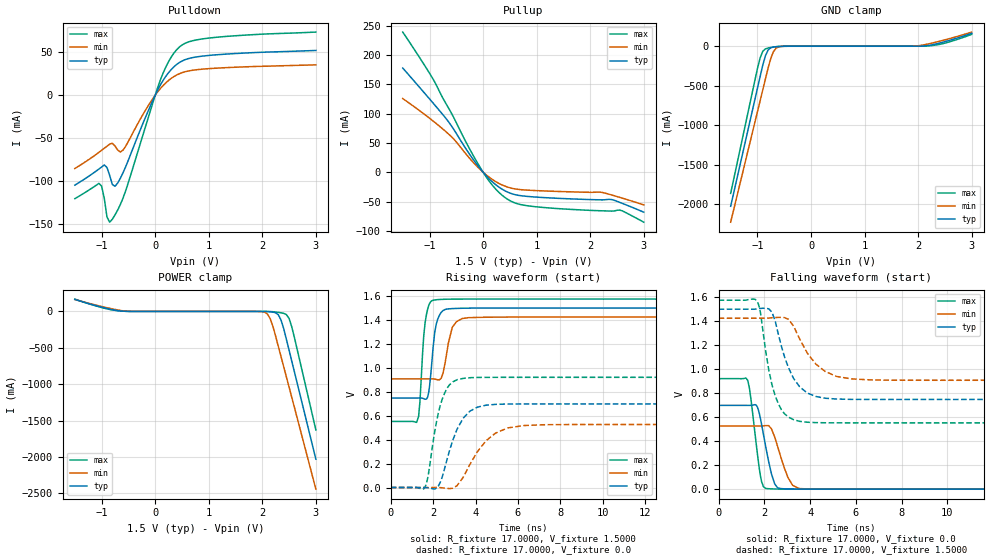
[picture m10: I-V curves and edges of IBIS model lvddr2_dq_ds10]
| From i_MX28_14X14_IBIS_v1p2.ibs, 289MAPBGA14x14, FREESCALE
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|   Model lvddr2_dq_ds10
| This model was characterised for following simulation conditions:
| Spice Models:
|  - Typ Condition
|   ..../r63536/IBIS/DDR_IBIS/io_dig_k_sstl18_dq_bs_ir_lvddr2_ds10/typ.model
|  - Min Condition
|   ..../r63536/IBIS/DDR_IBIS/io_dig_k_sstl18_dq_bs_ir_lvddr2_ds10/wcs.model
|  - Max Condition
|   ..../r63536/IBIS/DDR_IBIS/io_dig_k_sstl18_dq_bs_ir_lvddr2_ds10/bcs.model
[Model]  lvddr2_dq_ds10
Model_type I/O
Polarity   Non-Inverting
Enable   Active-Low
Vinl =   0.6250V
Vinh =   0.8750V
Vmeas =  0.7500V
Cref =   0.0F
Rref =   17.0000
Vref =   0.7500V
C_comp   3.7378pF   3.4501pF   4.0585pF
[Temperature Range]   25.0000   0.1050k   -40.0000
[Voltage Range]   1.5000V   1.4250V   1.5750V
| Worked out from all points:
|   slope of the pulldown table from 0 to 0.225 V, typ, clamps not added: 9.3 ohm
|   slope of the pullup table from 0 to 0.225 V, typ, clamps not added: 11 ohm
|   GND clamp passes 1 mA (typ) near -0.54 V on its own axis
|   POWER clamp passes 1 mA (typ) near -0.52 V on its own axis
|   rising waveform, R_fixture 17.0000, V_fixture 1.5000: 20-80 % time 268ps typ, 348ps min, 228ps max; typ from 0.748 V to 1.5 V
|   rising waveform, R_fixture 17.0000, V_fixture 0.0: 20-80 % time 840ps typ, 1.23ns min, 585ps max; typ from 0 V to 0.698 V
|   falling waveform, R_fixture 17.0000, V_fixture 0.0: 20-80 % time 436ps typ, 542ps min, 348ps max; typ from 0.698 V to 0 V
|   falling waveform, R_fixture 17.0000, V_fixture 1.5000: 20-80 % time 834ps typ, 1.09ns min, 616ps max; typ from 1.5 V to 0.748 V
[Pulldown]
|Voltage   I(typ)   I(min)   I(max)
-1.5V     -104.4mA   -85.04mA   -120.1mA
-1.05V    -85.67mA   -66.25mA   -102.3mA
-1V       -83.33mA   -63.88mA   -105.5mA
-900mV    -83.85mA   -59.13mA   -141.3mA
-800mV    -103.6mA   -55.72mA   -144mA
-750mV    -105.7mA   -58.97mA   -138.9mA
-600mV    -90mA      -63.76mA   -119.4mA
100mV     12.23mA    7.974mA    18.25mA
300mV     29.88mA    19.59mA    44.37mA
500mV     39.71mA    26.18mA    58.3mA
1.15V     47.02mA    31.47mA    67.36mA
3V        52mA       35.3mA     73.34mA
[Pullup]
|Voltage   I(typ)   I(min)   I(max)
-1.5V     177.5mA    125.5mA    238.8mA
-950mV    119.6mA    88.39mA    161.2mA
-650mV    86.47mA    65.43mA    110.1mA
-250mV    30.24mA    23.44mA    39.38mA
0V        -687fA     -5.36pA    -798fA
200mV     -18.67mA   -14.07mA   -25.18mA
400mV     -31.37mA   -23.54mA   -42.6mA
600mV     -38.38mA   -28.63mA   -52.62mA
950mV     -42.22mA   -31.21mA   -58.62mA
2.2V      -47.18mA   -34.21mA   -65.78mA
2.55V     -51.46mA   -42.92mA   -64.67mA
3V        -68.21mA   -55.84mA   -85.26mA
[GND_clamp]
|Voltage   I(typ)   I(min)   I(max)
-1.5V     -2.029A    -2.231A    -1.865A
-1V       -533.1mA   -830.8mA   -282.7mA
-950mV    -383.9mA   -691.3mA   -147.7mA
-900mV    -238.3mA   -552mA     -63.25mA
-850mV    -119.3mA   -412.9mA   -33.28mA
-800mV    -46.76mA   -274.5mA   -22.37mA
-700mV    -9.614mA   -66.67mA   -10.57mA
-650mV    -5.447mA   -22.63mA   -6.268mA
-500mV    -421.1uA   -763.3uA   -350.2uA
2.1V      3.619mA    16.69mA    667.5uA
2.45V     49.14mA    72.13mA    30.65mA
3V        164.5mA    179.4mA    150.3mA
[POWER_clamp]
|Voltage   I(typ)   I(min)   I(max)
-1.5V     164.5mA    163.7mA    169.6mA
-950mV    49.14mA    59.11mA    43.89mA
-600mV    3.619mA    8.051mA    3.221mA
1.9V      -28.44uA   -431.3uA   -3.904uA
2.1V      -2.845mA   -39.79mA   -682uA
2.2V      -9.614mA   -210.1mA   -4.543mA
2.3V      -46.76mA   -482.4mA   -13.09mA
2.35V     -119.3mA   -621.7mA   -18.86mA
2.4V      -238.4mA   -761.1mA   -26.87mA
2.5V      -533.1mA   -1.04A     -97.44mA
2.6V      -831.8mA   -1.32A     -360.4mA
3V        -2.029A    -2.441A    -1.628A
[Ramp]
| variable   typ   min   max
dV/dt_r  0.4191/0.8399n   0.3159/1.2012n   0.5526/0.5842n
dV/dt_f  0.4514/0.8338n   0.3104/1.0626n   0.6136/0.6025n
R_load = 17.0000
[Rising Waveform]
R_fixture= 17.0000
V_fixture= 1.5000
V_fixture_min= 1.4250
V_fixture_max= 1.5750
|time   V(typ)   V(min)   V(max)
0s        747.7mV    907.6mV    552.4mV
1.221ns   747.8mV    907.7mV    544.2mV
1.378ns   748.1mV    907.7mV    716.3mV
1.626ns   737.5mV    907.7mV    1.382V
1.795ns   797.6mV    907.7mV    1.522V
2ns       1.172V     907.6mV    1.565V
2.374ns   1.462V     910.6mV    1.572V
2.902ns   1.495V     1.338V     1.574V
3.666ns   1.499V     1.419V     1.575V
25ns      1.5V       1.425V     1.575V
[Rising Waveform]
R_fixture= 17.0000
V_fixture= 0.0
V_fixture_min= 0.0
V_fixture_max= 0.0
|time   V(typ)   V(min)   V(max)
0s        2.278nV    24.41nV    2.921nV
1.575ns   305uV      -929.2nV   -8.582mV
1.748ns   -2.583mV   -1.348uV   81.58mV
2.081ns   -12.4mV    217.2uV    472.6mV
2.425ns   84.75mV    -2.581mV   736.2mV
2.769ns   305.8mV    -9.069mV   857.7mV
3.416ns   578.9mV    84.7mV     911.9mV
4.494ns   688mV      390.7mV    920.7mV
6.251ns   698.4mV    517.7mV    921mV
25ns      698.5mV    526.5mV    921mV
[Falling Waveform]
R_fixture= 17.0000
V_fixture= 0.0
V_fixture_min= 0.0
V_fixture_max= 0.0
|time   V(typ)   V(min)   V(max)
0s        698.5mV    526.5mV    921mV
1.276ns   698.3mV    526.5mV    906mV
1.696ns   683.9mV    526.4mV    295mV
1.88ns    538.8mV    526.4mV    62.95mV
2.06ns    354.7mV    529.9mV    6.228mV
2.308ns   129.5mV    504.9mV    2.195mV
2.582ns   10.95mV    354.8mV    937.1uV
3.032ns   2.126mV    97.89mV    255.3uV
3.516ns   750.4uV    5.196mV    64.7uV
25ns      2.973nV    26.05nV    3.229nV
[Falling Waveform]
R_fixture= 17.0000
V_fixture= 1.5000
V_fixture_min= 1.4250
V_fixture_max= 1.5750
|time   V(typ)   V(min)   V(max)
0s        1.5V       1.425V     1.575V
1.696ns   1.504V     1.425V     1.562V
1.827ns   1.506V     1.425V     1.476V
2.202ns   1.502V     1.426V     986.1mV
2.469ns   1.407V     1.431V     781.1mV
3.053ns   1.013V     1.416V     601mV
3.547ns   852.7mV    1.25V      565.1mV
4.657ns   758mV      981.3mV    553.3mV
5.798ns   748.3mV    919.4mV    552.3mV
25ns      747.7mV    907.6mV    552.4mV
